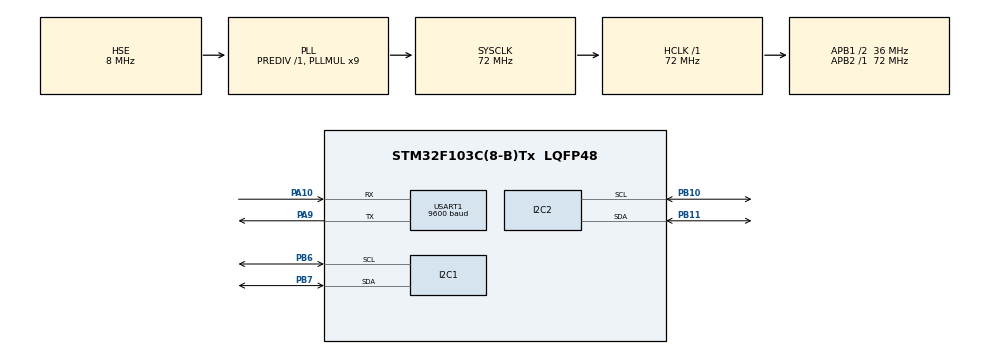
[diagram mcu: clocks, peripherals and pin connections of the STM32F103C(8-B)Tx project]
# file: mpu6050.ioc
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Mcu.Family=STM32F1
Mcu.Name=STM32F103C(8-B)Tx
Mcu.Package=LQFP48
NVIC.PriorityGroup=NVIC_PRIORITYGROUP_4
PA10.Mode=Asynchronous
PA10.Signal=USART1_RX
PA13.Mode=Serial_Wire
PA13.Signal=SYS_JTMS-SWDIO
PA14.Mode=Serial_Wire
PA14.Signal=SYS_JTCK-SWCLK
PA9.Mode=Asynchronous
PA9.Signal=USART1_TX
PB10.Mode=I2C
PB10.Signal=I2C2_SCL
PB11.Mode=I2C
PB11.Signal=I2C2_SDA
PB6.Mode=I2C
PB6.Signal=I2C1_SCL
PB7.Mode=I2C
PB7.Signal=I2C1_SDA
PD0-OSC_IN.Mode=HSE-External-Oscillator
PD0-OSC_IN.Signal=RCC_OSC_IN
PD1-OSC_OUT.Mode=HSE-External-Oscillator
PD1-OSC_OUT.Signal=RCC_OSC_OUT
ProjectManager.HeapSize=0x200
ProjectManager.StackSize=0x400
ProjectManager.TargetToolchain=STM32CubeIDE
RCC.AHBFreq_Value=72000000
RCC.APB1CLKDivider=RCC_HCLK_DIV2
RCC.APB1Freq_Value=36000000
RCC.APB1TimFreq_Value=72000000
RCC.APB2Freq_Value=72000000
RCC.APB2TimFreq_Value=72000000
RCC.HCLKFreq_Value=72000000
RCC.PLLMUL=RCC_PLL_MUL9
RCC.PLLSourceVirtual=RCC_PLLSOURCE_HSE
RCC.SYSCLKFreq_VALUE=72000000
RCC.SYSCLKSource=RCC_SYSCLKSOURCE_PLLCLK
RCC.USBFreq_Value=72000000
USART1.BaudRate=9600
USART1.VirtualMode=VM_ASYNC
board=custom

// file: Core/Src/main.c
/* USER CODE BEGIN Header */
/**
  ******************************************************************************
  * @file           : main.c
  * @brief          : Main program body
  ******************************************************************************
  * @attention
  *
  * Copyright (c) 2026 STMicroelectronics.
  * All rights reserved.
  *
  * This software is licensed under terms that can be found in the LICENSE file
  * in the root directory of this software component.
  * If no LICENSE file comes with this software, it is provided AS-IS.
  *
  ******************************************************************************
  */
/* USER CODE END Header */
#include "main.h"
#include <stdio.h>

/* USER CODE BEGIN PD */

// Hardware Handles
#define MPU6050_I2C       &hi2c2
#define BT_UART           &huart1
#define SEND_INTERVAL     500
#define MPU6050_ADDR      (0x68 << 1)

/* USER CODE END PD */

I2C_HandleTypeDef hi2c1;
I2C_HandleTypeDef hi2c2;

UART_HandleTypeDef huart1;

/* USER CODE BEGIN PV */
int16_t Accel_X_RAW, Accel_Y_RAW, Accel_Z_RAW;
int16_t Gyro_X_RAW, Gyro_Y_RAW, Gyro_Z_RAW;

float Ax, Ay, Az;
float Gx, Gy, Gz;
/* USER CODE END PV */

void SystemClock_Config(void);
static void MX_GPIO_Init(void);
static void MX_I2C1_Init(void);
static void MX_USART1_UART_Init(void);
static void MX_I2C2_Init(void);
/* USER CODE BEGIN PFP */
#define SMPLRT_DIV_REG    0x19
#define GYRO_CONFIG_REG   0x1B
#define ACCEL_CONFIG_REG  0x1C
#define ACCEL_XOUT_H_REG  0x3B
#define GYRO_XOUT_H_REG   0x43
#define PWR_MGMT_1_REG    0x6B
#define WHO_AM_I_REG      0x75

void MPU6050_Init(void);
void MPU6050_Read_Accel(void);
void MPU6050_Read_Gyro(void);
void BT_Send_Data(void);

/* USER CODE BEGIN 4 */
void MPU6050_Init(void) {
    uint8_t check, Data;
    HAL_I2C_Mem_Read(MPU6050_I2C, MPU6050_ADDR, WHO_AM_I_REG, 1, &check, 1, 1000);
    if (check == 0x68) {
        Data = 0;
        HAL_I2C_Mem_Write(MPU6050_I2C, MPU6050_ADDR, PWR_MGMT_1_REG, 1, &Data, 1, 1000);
        Data = 0x07;
        HAL_I2C_Mem_Write(MPU6050_I2C, MPU6050_ADDR, SMPLRT_DIV_REG, 1, &Data, 1, 1000);
        Data = 0x00;
        HAL_I2C_Mem_Write(MPU6050_I2C, MPU6050_ADDR, ACCEL_CONFIG_REG, 1, &Data, 1, 1000);
        Data = 0x00;
        HAL_I2C_Mem_Write(MPU6050_I2C, MPU6050_ADDR, GYRO_CONFIG_REG, 1, &Data, 1, 1000);
    }
}

void MPU6050_Read_Accel(void) {
    uint8_t Rec_Data[6];
    HAL_I2C_Mem_Read(MPU6050_I2C, MPU6050_ADDR, ACCEL_XOUT_H_REG, 1, Rec_Data, 6, 1000);
    Accel_X_RAW = (int16_t)(Rec_Data[0] << 8 | Rec_Data[1]);
    Accel_Y_RAW = (int16_t)(Rec_Data[2] << 8 | Rec_Data[3]);
    Accel_Z_RAW = (int16_t)(Rec_Data[4] << 8 | Rec_Data[5]);
    Ax = Accel_X_RAW / 16384.0f;
    Ay = Accel_Y_RAW / 16384.0f;
    Az = Accel_Z_RAW / 16384.0f;
}

void MPU6050_Read_Gyro(void) {
    uint8_t Rec_Data[6];
    HAL_I2C_Mem_Read(MPU6050_I2C, MPU6050_ADDR, GYRO_XOUT_H_REG, 1, Rec_Data, 6, 1000);
    Gyro_X_RAW = (int16_t)(Rec_Data[0] << 8 | Rec_Data[1]);
    Gyro_Y_RAW = (int16_t)(Rec_Data[2] << 8 | Rec_Data[3]);
    Gyro_Z_RAW = (int16_t)(Rec_Data[4] << 8 | Rec_Data[5]);
    Gx = Gyro_X_RAW / 131.0f;
    Gy = Gyro_Y_RAW / 131.0f;
    Gz = Gyro_Z_RAW / 131.0f;
}

void BT_Send_Data(void) {
    char msg[128];
    int len = sprintf(msg, "A:%.2f,%.2f,%.2f|G:%.2f,%.2f,%.2f\r\n", Ax, Ay, Az, Gx, Gy, Gz);
    HAL_UART_Transmit(BT_UART, (uint8_t*)msg, len, HAL_MAX_DELAY);
}
/* USER CODE END 4 */
/* USER CODE END PFP */

int main(void)
{

  /* MCU Configuration--------------------------------------------------------*/

  /* Reset of all peripherals, Initializes the Flash interface and the Systick. */
  HAL_Init();

  /* Configure the system clock */
  SystemClock_Config();

  /* Initialize all configured peripherals */
  MX_GPIO_Init();
  MX_I2C1_Init();
  MX_USART1_UART_Init();
  MX_I2C2_Init();
  /* USER CODE BEGIN 2 */
  MPU6050_Init();
  /* USER CODE END 2 */

  /* Infinite loop */
  while (1)
  {
  	  MPU6050_Read_Accel();
      MPU6050_Read_Gyro();
      BT_Send_Data();
      HAL_Delay(SEND_INTERVAL);
  }
}

void SystemClock_Config(void)
{
  RCC_OscInitTypeDef RCC_OscInitStruct = {0};
  RCC_ClkInitTypeDef RCC_ClkInitStruct = {0};

  /** Initializes the RCC Oscillators according to the specified parameters
  * in the RCC_OscInitTypeDef structure.
  */
  RCC_OscInitStruct.OscillatorType = RCC_OSCILLATORTYPE_HSE;
  RCC_OscInitStruct.HSEState = RCC_HSE_ON;
  RCC_OscInitStruct.HSEPredivValue = RCC_HSE_PREDIV_DIV1;
  RCC_OscInitStruct.HSIState = RCC_HSI_ON;
  RCC_OscInitStruct.PLL.PLLState = RCC_PLL_ON;
  RCC_OscInitStruct.PLL.PLLSource = RCC_PLLSOURCE_HSE;
  RCC_OscInitStruct.PLL.PLLMUL = RCC_PLL_MUL9;
  if (HAL_RCC_OscConfig(&RCC_OscInitStruct) != HAL_OK)
  {
    Error_Handler();
  }

  /** Initializes the CPU, AHB and APB buses clocks
  */
  RCC_ClkInitStruct.ClockType = RCC_CLOCKTYPE_HCLK|RCC_CLOCKTYPE_SYSCLK
                              |RCC_CLOCKTYPE_PCLK1|RCC_CLOCKTYPE_PCLK2;
  RCC_ClkInitStruct.SYSCLKSource = RCC_SYSCLKSOURCE_PLLCLK;
  RCC_ClkInitStruct.AHBCLKDivider = RCC_SYSCLK_DIV1;
  RCC_ClkInitStruct.APB1CLKDivider = RCC_HCLK_DIV2;
  RCC_ClkInitStruct.APB2CLKDivider = RCC_HCLK_DIV1;

  if (HAL_RCC_ClockConfig(&RCC_ClkInitStruct, FLASH_LATENCY_2) != HAL_OK)
  {
    Error_Handler();
  }
}

static void MX_I2C1_Init(void)
{

  hi2c1.Instance = I2C1;
  hi2c1.Init.ClockSpeed = 100000;
  hi2c1.Init.DutyCycle = I2C_DUTYCYCLE_2;
  hi2c1.Init.OwnAddress1 = 0;
  hi2c1.Init.AddressingMode = I2C_ADDRESSINGMODE_7BIT;
  hi2c1.Init.DualAddressMode = I2C_DUALADDRESS_DISABLE;
  hi2c1.Init.OwnAddress2 = 0;
  hi2c1.Init.GeneralCallMode = I2C_GENERALCALL_DISABLE;
  hi2c1.Init.NoStretchMode = I2C_NOSTRETCH_DISABLE;
  if (HAL_I2C_Init(&hi2c1) != HAL_OK)
  {
    Error_Handler();
  }

}

static void MX_I2C2_Init(void)
{

  hi2c2.Instance = I2C2;
  hi2c2.Init.ClockSpeed = 100000;
  hi2c2.Init.DutyCycle = I2C_DUTYCYCLE_2;
  hi2c2.Init.OwnAddress1 = 0;
  hi2c2.Init.AddressingMode = I2C_ADDRESSINGMODE_7BIT;
  hi2c2.Init.DualAddressMode = I2C_DUALADDRESS_DISABLE;
  hi2c2.Init.OwnAddress2 = 0;
  hi2c2.Init.GeneralCallMode = I2C_GENERALCALL_DISABLE;
  hi2c2.Init.NoStretchMode = I2C_NOSTRETCH_DISABLE;
  if (HAL_I2C_Init(&hi2c2) != HAL_OK)
  {
    Error_Handler();
  }

}

static void MX_USART1_UART_Init(void)
{

  huart1.Instance = USART1;
  huart1.Init.BaudRate = 9600;
  huart1.Init.WordLength = UART_WORDLENGTH_8B;
  huart1.Init.StopBits = UART_STOPBITS_1;
  huart1.Init.Parity = UART_PARITY_NONE;
  huart1.Init.Mode = UART_MODE_TX_RX;
  huart1.Init.HwFlowCtl = UART_HWCONTROL_NONE;
  huart1.Init.OverSampling = UART_OVERSAMPLING_16;
  if (HAL_UART_Init(&huart1) != HAL_OK)
  {
    Error_Handler();
  }

}

static void MX_GPIO_Init(void)
{

  /* GPIO Ports Clock Enable */
  __HAL_RCC_GPIOD_CLK_ENABLE();
  __HAL_RCC_GPIOB_CLK_ENABLE();
  __HAL_RCC_GPIOA_CLK_ENABLE();

}

void Error_Handler(void)
{
  __disable_irq();
  while (1)
  {
  }
}
